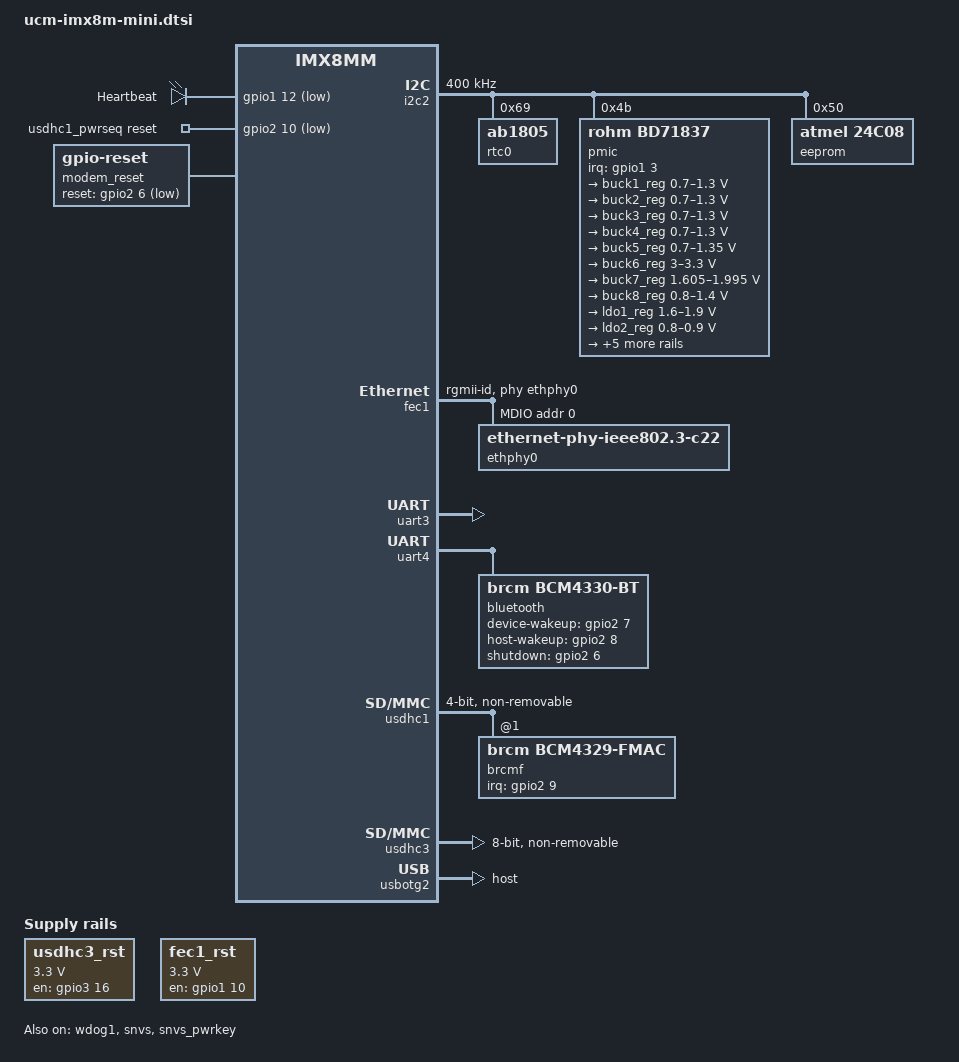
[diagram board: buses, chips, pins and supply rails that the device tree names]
/*
 * Copyright 2018 CompuLab
 *
 * This program is free software; you can redistribute it and/or
 * modify it under the terms of the GNU General Public License
 * as published by the Free Software Foundation; either version 2
 * of the License, or (at your option) any later version.
 *
 * This program is distributed in the hope that it will be useful,
 * but WITHOUT ANY WARRANTY; without even the implied warranty of
 * MERCHANTABILITY or FITNESS FOR A PARTICULAR PURPOSE.  See the
 * GNU General Public License for more details.
 */

#include "../freescale/imx8mm.dtsi"

/ {
	aliases {
		rtc0 = &rtc0;
		rtc1 = &snvs_rtc;
	};

	chosen {
		bootargs = "console=ttymxc2,115200 earlycon=ec_imx6q,0x30880000,115200";
		stdout-patch = &uart3;
	};

	leds {
		compatible = "gpio-leds";
		pinctrl-names = "default";
		pinctrl-0 = <&pinctrl_gpio_led>;
		heartbeat-led {
			label = "Heartbeat";
			gpios = <&gpio1 12 GPIO_ACTIVE_LOW>;
			linux,default-trigger = "heartbeat";
		};
	};

	soc@0 {
		dma-ranges = <0x40000000 0x0 0x40000000 0xc0000000>;
	};

	reserved-memory {
		#address-cells = <2>;
		#size-cells = <2>;
		ranges;
	};

	resmem: reserved-memory {
		#address-cells = <2>;
		#size-cells = <2>;
		ranges;

		rpmsg_reserved: rpmsg@0xb8000000 {
			no-map;
			reg = <0 0xb8000000 0 0x400000>;
		};

		linux,cma {
			compatible = "shared-dma-pool";
			reusable;
			size = <0 0x28000000>;
			alloc-ranges = <0 0x80000000 0 0x40000000>;
			linux,cma-default;
		};
	};

	regulator-usdhc3rst {
		compatible = "regulator-fixed";
		regulator-name = "usdhc3_rst";
		regulator-min-microvolt = <3300000>;
		regulator-max-microvolt = <3300000>;
		gpio = <&gpio3 16 GPIO_ACTIVE_HIGH>;
		regulator-always-on;
		enable-active-high;
	};

	regulator-fec1rst {
		compatible = "regulator-fixed";
		regulator-name = "fec1_rst";
		regulator-min-microvolt = <3300000>;
		regulator-max-microvolt = <3300000>;
		gpio = <&gpio1 10 GPIO_ACTIVE_HIGH>;
		regulator-always-on;
		enable-active-high;
		startup-delay-us = <500>;
		regulator-boot-on;
	};

	usdhc1_pwrseq: usdhc1_pwrseq {
		compatible = "mmc-pwrseq-simple";
		reset-gpios = <&gpio2 10 GPIO_ACTIVE_LOW>;
	};

	modem_reset: modem-reset {
		compatible = "gpio-reset";
		reset-gpios = <&gpio2 6 GPIO_ACTIVE_LOW>;
		reset-delay-us = <2000>;
		reset-post-delay-ms = <40>;
		#reset-cells = <0>;
	};
};


&i2c2 {
	clock-frequency = <400000>;
	pinctrl-names = "default";
	pinctrl-0 = <&pinctrl_i2c2>;
	status = "okay";

	rtc0: rtc@69 {
		compatible = "ab1805";
		reg = <0x69>;
		pagesize = <16>;
		sqw = "32768_Hz";
		xt-frequency = <32773500>;
		status = "okay";
	};

	pmic: bd71837@4b {
		reg = <0x4b>;
		compatible = "rohm,bd71837";
		pinctrl-0 = <&pinctrl_pmic>;
		interrupt-parent = <&gpio1>;
		interrupts = <3 GPIO_ACTIVE_LOW>;
		rohm,reset-snvs-powered;
		status = "okay";

		regulators {
			buck1_reg: BUCK1 {
				regulator-name = "BUCK1";
				regulator-min-microvolt = <700000>;
				regulator-max-microvolt = <1300000>;
				regulator-boot-on;
				regulator-always-on;
				regulator-ramp-delay = <1250>;
			};

			buck2_reg: BUCK2 {
				regulator-name = "BUCK2";
				regulator-min-microvolt = <700000>;
				regulator-max-microvolt = <1300000>;
				regulator-boot-on;
				regulator-always-on;
				regulator-ramp-delay = <1250>;
				rohm,dvs-run-voltage = <1000000>;
				rohm,dvs-idle-voltage = <900000>;
			};

			buck3_reg: BUCK3 {
				regulator-name = "BUCK3";
				regulator-min-microvolt = <700000>;
				regulator-max-microvolt = <1300000>;
				regulator-boot-on;
				regulator-always-on;
			};

			buck4_reg: BUCK4 {
				regulator-name = "BUCK4";
				regulator-min-microvolt = <700000>;
				regulator-max-microvolt = <1300000>;
				regulator-boot-on;
				regulator-always-on;
			};

			buck5_reg: BUCK5 {
				regulator-name = "BUCK5";
				regulator-min-microvolt = <700000>;
				regulator-max-microvolt = <1350000>;
				regulator-boot-on;
				regulator-always-on;
			};

			buck6_reg: BUCK6 {
				regulator-name = "BUCK6";
				regulator-min-microvolt = <3000000>;
				regulator-max-microvolt = <3300000>;
				regulator-boot-on;
				regulator-always-on;
			};

			buck7_reg: BUCK7 {
				regulator-name = "BUCK7";
				regulator-min-microvolt = <1605000>;
				regulator-max-microvolt = <1995000>;
				regulator-boot-on;
				regulator-always-on;
			};

			buck8_reg: BUCK8 {
				regulator-name = "BUCK8";
				regulator-min-microvolt = <800000>;
				regulator-max-microvolt = <1400000>;
				regulator-boot-on;
				regulator-always-on;
			};

			ldo1_reg: LDO1 {
				regulator-name = "LDO1";
				regulator-min-microvolt = <1600000>;
				regulator-max-microvolt = <1900000>;
				regulator-boot-on;
				regulator-always-on;
			};

			ldo2_reg: LDO2 {
				regulator-name = "LDO2";
				regulator-min-microvolt = <800000>;
				regulator-max-microvolt = <900000>;
				regulator-boot-on;
				regulator-always-on;
			};

			ldo3_reg: LDO3 {
				regulator-name = "LDO3";
				regulator-min-microvolt = <1800000>;
				regulator-max-microvolt = <3300000>;
				regulator-boot-on;
				regulator-always-on;
			};

			ldo4_reg: LDO4 {
				regulator-name = "LDO4";
				regulator-min-microvolt = <900000>;
				regulator-max-microvolt = <1800000>;
				regulator-boot-on;
				regulator-always-on;
			};

			ldo5_reg: LDO5 {
				regulator-name = "LDO5";
				regulator-min-microvolt = <1800000>;
				regulator-max-microvolt = <3300000>;
			};

			ldo6_reg: LDO6 {
				regulator-name = "LDO6";
				regulator-min-microvolt = <900000>;
				regulator-max-microvolt = <1800000>;
				regulator-boot-on;
				regulator-always-on;
			};

			ldo7_reg: LDO7 {
				regulator-name = "LDO7";
				regulator-min-microvolt = <1800000>;
				regulator-max-microvolt = <3300000>;
			};
		};
	};

	eeprom@50 {
		compatible = "atmel,24c08";
		reg = <0x50>;
		pagesize = <16>;
	};
};

&A53_0 {
	cpu-supply = <&buck2_reg>;
};

&A53_1 {
	cpu-supply = <&buck2_reg>;
};

&A53_2 {
	cpu-supply = <&buck2_reg>;
};

&A53_3 {
	cpu-supply = <&buck2_reg>;
};

&wdog1 {
	pinctrl-names = "default";
	pinctrl-0 = <&pinctrl_wdog>;
	fsl,ext-reset-output;
	status = "okay";
};

&snvs {
	status = "okay";
};

&snvs_pwrkey {
	status = "okay";
};

&fec1 {
	pinctrl-names = "default";
	pinctrl-0 = <&pinctrl_fec1>;
	phy-mode = "rgmii-id";
	phy-handle = <&ethphy0>;
	fsl,magic-packet;
	fsl,rgmii_rxc_dly;
	status = "okay";

	mdio {
		#address-cells = <1>;
		#size-cells = <0>;

		ethphy0: ethernet-phy@0 {
			compatible = "ethernet-phy-ieee802.3-c22";
			reg = <0>;
			at803x,led-act-blind-workaround;
			at803x,eee-okay;
			at803x,vddio-1p8v;
		};
	};
};

&uart3 { /* console */
	pinctrl-names = "default";
	pinctrl-0 = <&pinctrl_uart3>;
	status = "okay";
};

&uart4 { /* bluetooth */
	pinctrl-names = "default";
	pinctrl-0 = <&pinctrl_uart4>;
	assigned-clocks = <&clk IMX8MM_CLK_UART4>;
	assigned-clock-parents = <&clk IMX8MM_SYS_PLL1_80M>;
	uart-has-rtscts;
	status = "okay";

	bluetooth {
		compatible = "brcm,bcm4330-bt";
		pinctrl-names = "default";
		pinctrl-0 = <&pinctrl_bt>;
		max-speed = <3000000>;
		device-wakeup-gpios = <&gpio2 7 GPIO_ACTIVE_HIGH>;
		host-wakeup-gpios = <&gpio2 8 GPIO_ACTIVE_HIGH>;
		shutdown-gpios = <&gpio2 6 GPIO_ACTIVE_HIGH>;
	};
};

&usdhc1 {
	#address-cells = <1>;
	#size-cells = <0>;
	pinctrl-names = "default", "state_100mhz", "state_200mhz";
	pinctrl-0 = <&pinctrl_usdhc1>, <&pinctrl_usdhc1_gpio>;
	pinctrl-1 = <&pinctrl_usdhc1_100mhz>, <&pinctrl_usdhc1_gpio>;
	pinctrl-2 = <&pinctrl_usdhc1_200mhz>, <&pinctrl_usdhc1_gpio>;
	bus-width = <4>;
	non-removable;
	wifi-host;
	pm-ignore-notify;
	cap-power-off-card;
	status = "okay";
	mmc-pwrseq = <&usdhc1_pwrseq>;

	brcmf: wifi@1 {
		compatible = "brcm,bcm4329-fmac";
		reg = <1>;
		interrupt-parent = <&gpio2>;
		interrupts = <9 IRQ_TYPE_LEVEL_HIGH>;
		interrupt-names = "host-wake";
	};
};


&usdhc3 {
	pinctrl-names = "default", "state_100mhz", "state_200mhz";
	pinctrl-0 = <&pinctrl_usdhc3>;
	pinctrl-1 = <&pinctrl_usdhc3_100mhz>;
	pinctrl-2 = <&pinctrl_usdhc3_200mhz>;
	bus-width = <8>;
	non-removable;
	no-1-8-v;
	status = "okay";
};

&usbotg2 {
	dr_mode = "host";
	hnp-disable;
	srp-disable;
	disable-over-current;
	status = "okay";
};

&cpu_alert0 {
	temperature = <95000>;
};
&cpu_crit0 {
	temperature = <105000>;
};

&iomuxc {
	pinctrl-names = "default";
	pinctrl-0 = <&pinctrl_hog_1>;

	ucm-imx8m-mini {
		pinctrl_hog_1: hoggrp-1 {
			fsl,pins = <
				MX8MM_IOMUXC_GPIO1_IO10_GPIO1_IO10	0x19
				MX8MM_IOMUXC_NAND_READY_B_GPIO3_IO16	0x190
			>;
		};

		pinctrl_fec1: fec1grp {
			fsl,pins = <
				MX8MM_IOMUXC_ENET_MDC_ENET1_MDC		0x3
				MX8MM_IOMUXC_ENET_MDIO_ENET1_MDIO	0x3
				MX8MM_IOMUXC_ENET_TD3_ENET1_RGMII_TD3	0x1f
				MX8MM_IOMUXC_ENET_TD2_ENET1_RGMII_TD2	0x1f
				MX8MM_IOMUXC_ENET_TD1_ENET1_RGMII_TD1	0x1f
				MX8MM_IOMUXC_ENET_TD0_ENET1_RGMII_TD0	0x1f
				MX8MM_IOMUXC_ENET_RD3_ENET1_RGMII_RD3	0x91
				MX8MM_IOMUXC_ENET_RD2_ENET1_RGMII_RD2	0x91
				MX8MM_IOMUXC_ENET_RD1_ENET1_RGMII_RD1	0x91
				MX8MM_IOMUXC_ENET_RD0_ENET1_RGMII_RD0	0x91
				MX8MM_IOMUXC_ENET_TXC_ENET1_RGMII_TXC	0x1f
				MX8MM_IOMUXC_ENET_RXC_ENET1_RGMII_RXC	0x91
				MX8MM_IOMUXC_ENET_RX_CTL_ENET1_RGMII_RX_CTL	0x91
				MX8MM_IOMUXC_ENET_TX_CTL_ENET1_RGMII_TX_CTL	0x1f
			>;
		};

		pinctrl_gpio_led: gpioledgrp {
			fsl,pins = <
				MX8MM_IOMUXC_GPIO1_IO12_GPIO1_IO12	0x19
			>;
		};

		pinctrl_i2c2: i2c2grp {
			fsl,pins = <
				MX8MM_IOMUXC_I2C2_SCL_I2C2_SCL			0x400001c3
				MX8MM_IOMUXC_I2C2_SDA_I2C2_SDA			0x400001c3
			>;
		};

		pinctrl_pmic: pmicirq {
			fsl,pins = <
				MX8MM_IOMUXC_GPIO1_IO03_GPIO1_IO3		0x41
			>;
		};

		pinctrl_uart3: uart3grp {
			fsl,pins = <
				MX8MM_IOMUXC_UART3_RXD_UART3_DCE_RX	0x49
				MX8MM_IOMUXC_UART3_TXD_UART3_DCE_TX	0x49
			>;
		};

		pinctrl_uart4: uart4grp {
			fsl,pins = <
				MX8MM_IOMUXC_ECSPI2_MISO_UART4_DCE_CTS_B 0x140
				MX8MM_IOMUXC_ECSPI2_MOSI_UART4_DCE_TX    0x140
				MX8MM_IOMUXC_ECSPI2_SS0_UART4_DCE_RTS_B  0x140
				MX8MM_IOMUXC_ECSPI2_SCLK_UART4_DCE_RX    0x140
			>;
		};

		pinctrl_usdhc1_gpio: usdhc1grpgpio {
			fsl,pins = <
				MX8MM_IOMUXC_SD1_RESET_B_GPIO2_IO10	0x41
			>;
		};

		pinctrl_usdhc1: usdhc1grp {
			fsl,pins = <
				MX8MM_IOMUXC_SD1_CLK_USDHC1_CLK		0x190
				MX8MM_IOMUXC_SD1_CMD_USDHC1_CMD		0x1d0
				MX8MM_IOMUXC_SD1_DATA0_USDHC1_DATA0	0x1d0
				MX8MM_IOMUXC_SD1_DATA1_USDHC1_DATA1	0x1d0
				MX8MM_IOMUXC_SD1_DATA2_USDHC1_DATA2	0x1d0
				MX8MM_IOMUXC_SD1_DATA3_USDHC1_DATA3	0x1d0
				MX8MM_IOMUXC_GPIO1_IO03_USDHC1_VSELECT	0x1d0
			>;
		};

		pinctrl_usdhc1_100mhz: usdhc1grp100mhz {
			fsl,pins = <
				MX8MM_IOMUXC_SD1_CLK_USDHC1_CLK		0x194
				MX8MM_IOMUXC_SD1_CMD_USDHC1_CMD		0x1d4
				MX8MM_IOMUXC_SD1_DATA0_USDHC1_DATA0	0x1d4
				MX8MM_IOMUXC_SD1_DATA1_USDHC1_DATA1	0x1d4
				MX8MM_IOMUXC_SD1_DATA2_USDHC1_DATA2	0x1d4
				MX8MM_IOMUXC_SD1_DATA3_USDHC1_DATA3	0x1d4
				MX8MM_IOMUXC_GPIO1_IO03_USDHC1_VSELECT	0x1d0
			>;
		};

		pinctrl_usdhc1_200mhz: usdhc1grp200mhz {
			fsl,pins = <
				MX8MM_IOMUXC_SD1_CLK_USDHC1_CLK		0x196
				MX8MM_IOMUXC_SD1_CMD_USDHC1_CMD		0x1d6
				MX8MM_IOMUXC_SD1_DATA0_USDHC1_DATA0	0x1d6
				MX8MM_IOMUXC_SD1_DATA1_USDHC1_DATA1	0x1d6
				MX8MM_IOMUXC_SD1_DATA2_USDHC1_DATA2	0x1d6
				MX8MM_IOMUXC_SD1_DATA3_USDHC1_DATA3	0x1d6
				MX8MM_IOMUXC_GPIO1_IO03_USDHC1_VSELECT	0x1d0
			>;
		};



		pinctrl_usdhc3: usdhc3grp {
			fsl,pins = <
				MX8MM_IOMUXC_NAND_WE_B_USDHC3_CLK		0x40000190
				MX8MM_IOMUXC_NAND_WP_B_USDHC3_CMD		0x1d0
				MX8MM_IOMUXC_NAND_DATA04_USDHC3_DATA0		0x1d0
				MX8MM_IOMUXC_NAND_DATA05_USDHC3_DATA1		0x1d0
				MX8MM_IOMUXC_NAND_DATA06_USDHC3_DATA2		0x1d0
				MX8MM_IOMUXC_NAND_DATA07_USDHC3_DATA3		0x1d0
				MX8MM_IOMUXC_NAND_RE_B_USDHC3_DATA4		0x1d0
				MX8MM_IOMUXC_NAND_CE2_B_USDHC3_DATA5		0x1d0
				MX8MM_IOMUXC_NAND_CE3_B_USDHC3_DATA6		0x1d0
				MX8MM_IOMUXC_NAND_CLE_USDHC3_DATA7		0x1d0
				MX8MM_IOMUXC_NAND_CE1_B_USDHC3_STROBE 		0x190
			>;
		};

		pinctrl_usdhc3_100mhz: usdhc3grp100mhz {
			fsl,pins = <
				MX8MM_IOMUXC_NAND_WE_B_USDHC3_CLK		0x40000194
				MX8MM_IOMUXC_NAND_WP_B_USDHC3_CMD		0x1d4
				MX8MM_IOMUXC_NAND_DATA04_USDHC3_DATA0		0x1d4
				MX8MM_IOMUXC_NAND_DATA05_USDHC3_DATA1		0x1d4
				MX8MM_IOMUXC_NAND_DATA06_USDHC3_DATA2		0x1d4
				MX8MM_IOMUXC_NAND_DATA07_USDHC3_DATA3		0x1d4
				MX8MM_IOMUXC_NAND_RE_B_USDHC3_DATA4		0x1d4
				MX8MM_IOMUXC_NAND_CE2_B_USDHC3_DATA5		0x1d4
				MX8MM_IOMUXC_NAND_CE3_B_USDHC3_DATA6		0x1d4
				MX8MM_IOMUXC_NAND_CLE_USDHC3_DATA7		0x1d4
				MX8MM_IOMUXC_NAND_CE1_B_USDHC3_STROBE 		0x194
			>;
		};

		pinctrl_usdhc3_200mhz: usdhc3grp200mhz {
			fsl,pins = <
				MX8MM_IOMUXC_NAND_WE_B_USDHC3_CLK		0x40000196
				MX8MM_IOMUXC_NAND_WP_B_USDHC3_CMD		0x1d6
				MX8MM_IOMUXC_NAND_DATA04_USDHC3_DATA0		0x1d6
				MX8MM_IOMUXC_NAND_DATA05_USDHC3_DATA1		0x1d6
				MX8MM_IOMUXC_NAND_DATA06_USDHC3_DATA2		0x1d6
				MX8MM_IOMUXC_NAND_DATA07_USDHC3_DATA3		0x1d6
				MX8MM_IOMUXC_NAND_RE_B_USDHC3_DATA4		0x1d6
				MX8MM_IOMUXC_NAND_CE2_B_USDHC3_DATA5		0x1d6
				MX8MM_IOMUXC_NAND_CE3_B_USDHC3_DATA6		0x1d6
				MX8MM_IOMUXC_NAND_CLE_USDHC3_DATA7		0x1d6
				MX8MM_IOMUXC_NAND_CE1_B_USDHC3_STROBE 		0x196
			>;
		};

		pinctrl_wdog: wdoggrp {
			fsl,pins = <
				MX8MM_IOMUXC_GPIO1_IO02_WDOG1_WDOG_B		0xc6
			>;
		};

		pinctrl_bt: bt0grp {
			fsl,pins = <
				MX8MM_IOMUXC_SD1_DATA4_GPIO2_IO6	0x19 /* BT_REG_ON */
				MX8MM_IOMUXC_SD1_DATA5_GPIO2_IO7	0x19 /* BT_DEV_WU */
				MX8MM_IOMUXC_SD1_DATA6_GPIO2_IO8	0x19 /* BT_HST_WU */
			>;
		};
	};
};
